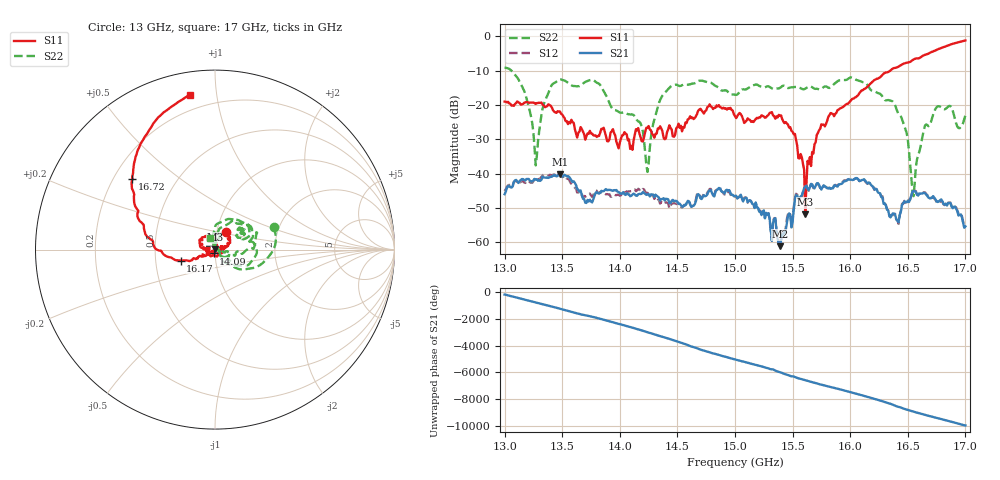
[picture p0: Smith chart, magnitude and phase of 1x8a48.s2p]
!Keysight Technologies,P9374A,MY57211807,A.19.30.04
!Date: Friday, May 08, 2026 14:14:31
!Correction: S11(C  2-Port  )
!S21(C  2-Port  )
!S12(C  2-Port  )
!S22(C  2-Port  )
!S2P File: Measurements: S11, S21, S12, S22:
# Hz S  dB  R 50
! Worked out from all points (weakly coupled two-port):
!   401 points, 13 GHz to 17 GHz, reference 50 ohm
!   highest |S21| = -40.13 dB at 13.48 GHz (marker M1); lowest = -61.1 dB at 15.39 GHz (marker M2)
!   lowest |S11| = -51.9 dB at 15.61 GHz (marker M3), VSWR 1.01, Z = 50.2 + j0.159 ohm
!   |S11| at or under -10 dB: start of sweep to 16.35 GHz
!   |S22| runs from -46.5 to -9.1 dB; largest |S21 - S12| = 0.0013
!   S11 on the Smith chart (normalised r, x): 13 GHz: 1.10, +0.21; 14.09 GHz: 0.98, -0.04; 16.17 GHz: 0.67, -0.09; 16.72 GHz: 0.28, +0.34; 17 GHz: 0.12, +0.84
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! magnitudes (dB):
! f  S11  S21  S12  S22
! 13 GHz  -19.0  -46.0  -45.1  -9.1
! 13.17 GHz  -19.3  -41.8  -42.6  -15.9
! 13.27 GHz  -19.7  -41.7  -41.3  -37.6
! 13.35 GHz  -20.6  -41.1  -40.3  -18.8
! 13.48 GHz  -21.9  -40.1  -40.1  -12.5
! 13.67 GHz  -27.0  -46.3  -45.9  -14.1
! 14.09 GHz  -32.8  -46.6  -45.1  -22.7
! 14.18 GHz  -29.3  -45.9  -45.1  -25.3
! 14.24 GHz  -26.7  -46.1  -45.6  -39.5
! 14.34 GHz  -26.8  -47.0  -47.8  -19.4
! 14.7 GHz  -21.1  -47.2  -47.0  -12.9
! 15 GHz  -23.2  -46.4  -46.7  -17.0
! 15.39 GHz  -23.1  -61.1  -60.9  -15.0
! 15.61 GHz  -51.9  -43.8  -43.8  -15.2
! 15.67 GHz  -33.6  -43.1  -43.2  -14.8
! 15.82 GHz  -22.9  -44.1  -44.1  -15.0
! 16.17 GHz  -13.9  -42.7  -42.7  -15.2
! 16.34 GHz  -10.2  -52.4  -51.8  -18.6
! 16.47 GHz  -7.9  -48.1  -47.9  -26.2
! 16.55 GHz  -6.7  -45.0  -44.8  -46.5
! 16.72 GHz  -4.4  -46.5  -46.9  -22.8
! 17 GHz  -1.2  -55.4  -55.7  -23.0
